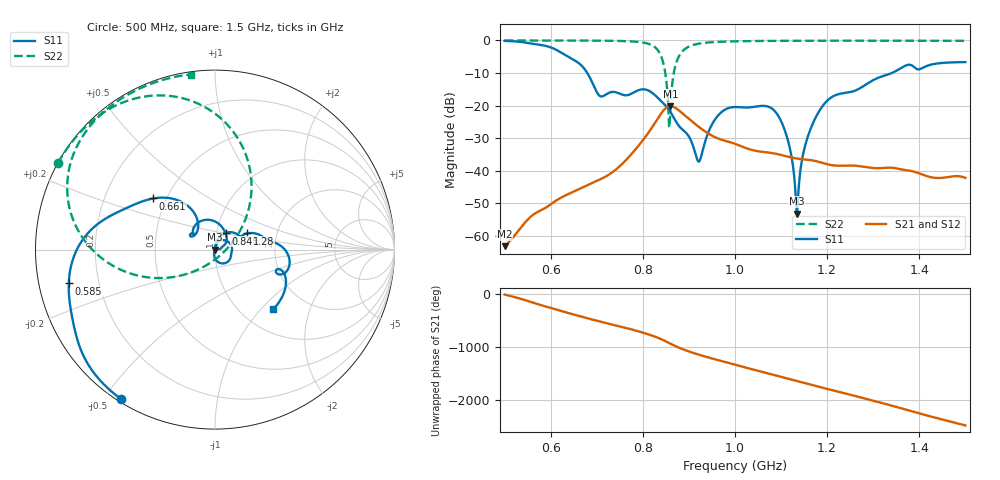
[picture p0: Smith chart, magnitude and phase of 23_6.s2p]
! TOUCHSTONE file generated by CST MICROWAVE STUDIO
! Date and time: Sat Oct 24 11:47:16 2020
! Project name: Scenario_1_Circular_Tissue_out_of_Line.cst
! Parameters = {dy1=35.502; L_HA=400; MT=2.54; Rad_Dielectric=30; Rad_Lower=7.3; Rad_Upper=30; a_HA=580; a_WG=246; b_HA=500; b_WG=121; c_HA=0; c_WG=187; d_feed=85; dx1=1039; h_feed=15; h_lower=18; h_upper=40}
! Header version: 2018
! Port assignment regex: !\s*Touchstone port\s*([0-9]+)\s*=\s*(CST MWS port|CST DS port)\s*([0-9]+|Zmin|Zmax)\s*\(\"(.*)\"\)(\s*mode\s*([0-9]+))?.*
! Touchstone port assignment:
! Touchstone port 1 = CST MWS port 1 ("")
! Touchstone port 2 = CST MWS port 2 ("")
# GHz S DB R 50
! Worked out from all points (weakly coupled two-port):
!   1001 points, 500 MHz to 1.5 GHz, reference 50 ohm
!   highest |S21| = -20.22 dB at 860 MHz (marker M1); lowest = -63.2 dB at 500 MHz (marker M2)
!   lowest |S11| = -53.2 dB at 1.134 GHz (marker M3), VSWR 1.00, Z = 49.8 - j0.0053 ohm
!   |S11| at or under -10 dB: 679.4 MHz to 1.341 GHz (661.1 MHz wide, 65.5 % of centre)
!   |S22| runs from -26.8 to 0.0 dB; largest |S21 - S12| = 2.6e-05
!   S11 on the Smith chart (normalised r, x): 500 MHz: 0.01, -0.55; 585 MHz: 0.09, -0.11; 661 MHz: 0.42, +0.30; 845 MHz: 1.11, +0.20; 1.28 GHz: 1.41, +0.27; 1.5 GHz: 1.38, -1.17
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0.5  -0.15 -122.2  -63.18 -2.8  -63.18 -2.8  -0.01 151.1
0.585  -1.55 -167.0  -51.70 141.8  -51.68 142.0  -0.02 145.3
0.661  -7.00 140.4  -45.67 -47.2  -45.69 -47.2  -0.04 138.9
0.667  -7.74 135.0  -45.26 -61.4  -45.29 -61.4  -0.04 138.4
0.708  -17.15 138.0  -42.62 -155.9  -42.62 -155.9  -0.07 133.9
0.789  -15.36 133.7  -32.62 25.3  -32.62 25.3  -0.44 117.3
0.834  -17.83 70.8  -23.64 -104.4  -23.64 -104.4  -3.31 82.9
0.845  -19.37 56.8  -21.48 -147.1  -21.48 -147.1  -7.31 61.9
0.855  -20.96 43.0  -20.35 169.3  -20.35 169.3  -19.88 21.4
0.86  -22.00 36.2  -20.22 147.1  -20.22 147.1  -20.30 -117.8
0.877  -26.01 23.5  -21.35 77.7  -21.35 77.7  -5.25 -168.7
0.921  -37.21 37.1  -26.50 -58.9  -26.50 -58.9  -1.00 157.6
0.957  -24.19 56.0  -29.73 -148.1  -29.73 -148.1  -0.48 147.4
1  -20.45 4.6  -31.75 109.4  -31.75 109.4  -0.28 140.2
1.091  -22.53 -73.6  -34.87 -99.2  -34.87 -99.2  -0.13 130.5
1.117  -31.87 -101.9  -35.78 -158.9  -35.78 -158.9  -0.12 128.3
1.134  -53.16 -178.6  -36.27 163.5  -36.26 163.5  -0.11 126.8
1.167  -26.12 78.2  -36.81 88.1  -36.81 88.1  -0.10 124.2
1.206  -17.80 49.0  -38.21 0.2  -38.20 0.2  -0.09 121.2
1.28  -13.91 26.6  -38.82 -165.9  -38.82 -165.9  -0.08 115.6
1.334  -10.36 9.7  -39.07 70.7  -39.07 70.7  -0.09 111.5
1.5  -6.65 -45.8  -42.20 41.8  -42.20 41.8  -0.14 97.9
